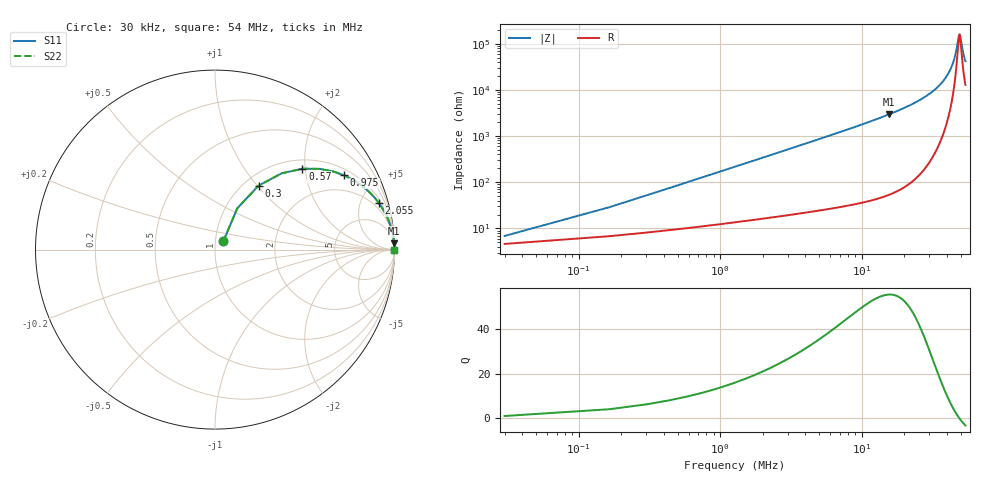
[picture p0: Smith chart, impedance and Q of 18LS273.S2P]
! Coilcraft 1812LS-273 Chip Inductor
! 8 August 2002
# MHZ S MA R 50
!Freq  MagS11  AngS11  MagS21  AngS21  MagS12  AngS12  MagS22  AngS22
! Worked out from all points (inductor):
!   401 points, 30 kHz to 54 MHz, reference 50 ohm
!   read as one part in series: L = 27 uH near 300 kHz
!   highest Q = 55.2 at 15.55 MHz (marker M1), where L = 30 uH
!   self-resonance near 49.03 MHz
!   S11 on the Smith chart (normalised r, x): 30 kHz: 1.09, +0.10; 300 kHz: 1.16, +1.02; 570 kHz: 1.20, +1.93; 975 kHz: 1.24, +3.31; 2.055 MHz: 1.33, +6.98; 54 MHz: open
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0.03  0.0656 45.0  0.9547 -2.8  0.9547 -2.8  0.0656 45.0
0.3  0.4313 55.7  0.8369 -25.2  0.8369 -25.2  0.4313 55.7
0.435  0.5644 48.9  0.7589 -34.1  0.7589 -34.1  0.5644 48.9
0.57  0.6637 42.8  0.6826 -41.3  0.6826 -41.3  0.6637 42.8
0.975  0.8299 29.9  0.5002 -55.9  0.5002 -55.9  0.8299 29.9
1.38  0.9008 22.5  0.3838 -64.1  0.3838 -64.1  0.9008 22.5
2.055  0.9497 15.7  0.2716 -71.6  0.2716 -71.6  0.9497 15.7
3.27  0.9782 10.1  0.1754 -77.8  0.1754 -77.8  0.9782 10.1
4.755  0.9891 7.0  0.1214 -81.4  0.1214 -81.4  0.9891 7.0
9.075  0.9967 3.6  0.06251 -85.2  0.06251 -85.2  0.9967 3.6
15.555  0.9988 2.0  0.03404 -87.0  0.03404 -87.0  0.9988 2.0
18.12  0.9991 1.6  0.02806 -87.3  0.02806 -87.3  0.9991 1.6
27.03  0.9995 0.9  0.01518 -87.6  0.01518 -87.6  0.9995 0.9
36.075  0.9995 0.4  0.007518 -86.2  0.007518 -86.2  0.9995 0.4
41.475  0.9995 0.2  0.004092 -82.6  0.004092 -82.6  0.9995 0.2
45.12  0.9994 0.1  0.002102 -74.3  0.002102 -74.3  0.9994 0.1
46.605  0.9994 0.1  0.001379 -64.7  0.001379 -64.7  0.9994 0.1
48.36  0.9994 0.0  0.0007176 -30.2  0.0007176 -30.2  0.9994 0.0
49.035  0.9994 0.0  0.0006335 -2.6  0.0006335 -2.6  0.9994 0.0
49.71  0.9994 -0.0  0.0007115 24.8  0.0007115 24.8  0.9994 -0.0
52.14  0.9993 -0.1  0.0016 64.2  0.0016 64.2  0.9993 -0.1
54  0.9993 -0.1  0.002398 72.0  0.002398 72.0  0.9993 -0.1
